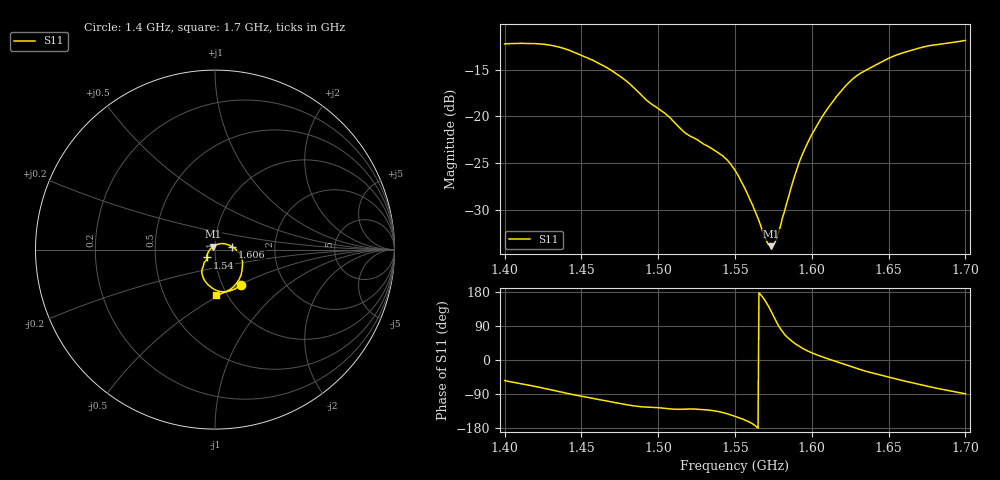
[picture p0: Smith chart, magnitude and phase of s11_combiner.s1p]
# GHZ S RI R 50.000000000000
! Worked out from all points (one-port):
!   501 points, 1.4 GHz to 1.7 GHz, reference 50 ohm
!   lowest |S11| = -33.9 dB at 1.573 GHz (marker M1), VSWR 1.04, Z = 48.7 + j1.52 ohm
!   |S11| at or under -10 dB: start of sweep to end of sweep
!   S11 on the Smith chart (normalised r, x): 1.4 GHz: 1.21, -0.51; 1.54 GHz: 0.91, -0.08; 1.606 GHz: 1.21, +0.04; 1.7 GHz: 0.88, -0.48
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1.4  0.1424 -0.1975
1.4222  0.0765 -0.2318
1.4378  0.0182 -0.2308
1.4576  -0.0393 -0.1952
1.475  -0.0685 -0.1489
1.4912  -0.0697 -0.1035
1.5056  -0.0627 -0.0802
1.5128  -0.0569 -0.0679
1.5188  -0.0509 -0.0619
1.5398  -0.0458 -0.0434
1.5452  -0.0459 -0.0355
1.55  -0.044 -0.0268
1.562  -0.0321 -0.00569
1.5704  -0.0191 0.0103
1.5734  -0.0128 0.0156
1.5758  -0.00707 0.0198
1.5776  -0.00229 0.0227
1.5878  0.0305 0.033
1.5914  0.0443 0.0335
1.5956  0.0599 0.0307
1.6058  0.0952 0.0165
1.6166  0.1282 -0.0113
1.625  0.1475 -0.0435
1.6322  0.1533 -0.0753
1.646  0.1481 -0.1284
1.6628  0.1193 -0.1882
1.6784  0.0742 -0.2279
1.7  0.00337 -0.2543
